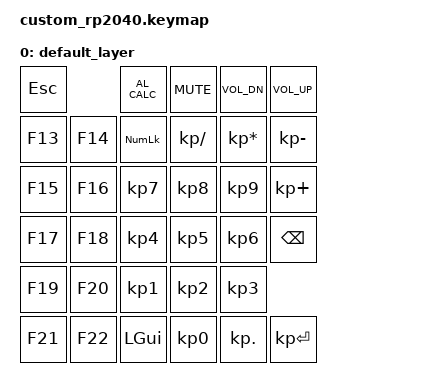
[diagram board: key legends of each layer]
#include <behaviors.dtsi>
#include <dt-bindings/zmk/keys.h>

// ------------------default-----------------
// |    ESC   |          |  CALC    |   MUTE  |   VolD  |  VolUp  |
// |    F1    |    F2    | LAYERSFT |    /    |    *    |    -    |
// |    F3    |    F4    |    7     |    8    |    9    |    +    |
// |    F5    |    F6    |    4     |    5    |    6    |BACKSPACE|
// |    F7    |    F8    |    1     |    2    |    3    |         |
// |    F9    |    F10   |    NOP   |    0    |    .    |  ENTER  |

/ {
    keymap {
        compatible = "zmk,keymap";

        default_layer {
            bindings = <
&kp ESC           &kp C_AL_CALC   &kp C_MUTE     &kp C_VOL_DN     &kp C_VOLUME_UP
&kp F13  &kp F14  &kp KP_NUMLOCK  &kp KP_DIVIDE  &kp KP_MULTIPLY  &kp KP_MINUS
&kp F15  &kp F16  &kp KP_N7       &kp KP_N8      &kp KP_N9        &kp KP_PLUS
&kp F17  &kp F18  &kp KP_N4       &kp KP_N5      &kp KP_N6        &kp BACKSPACE
&kp F19  &kp F20  &kp KP_N1       &kp KP_N2      &kp KP_N3
&kp F21  &kp F22  &kp LEFT_GUI    &kp KP_N0      &kp KP_DOT       &kp KP_ENTER
            >;
        };
    };
};
